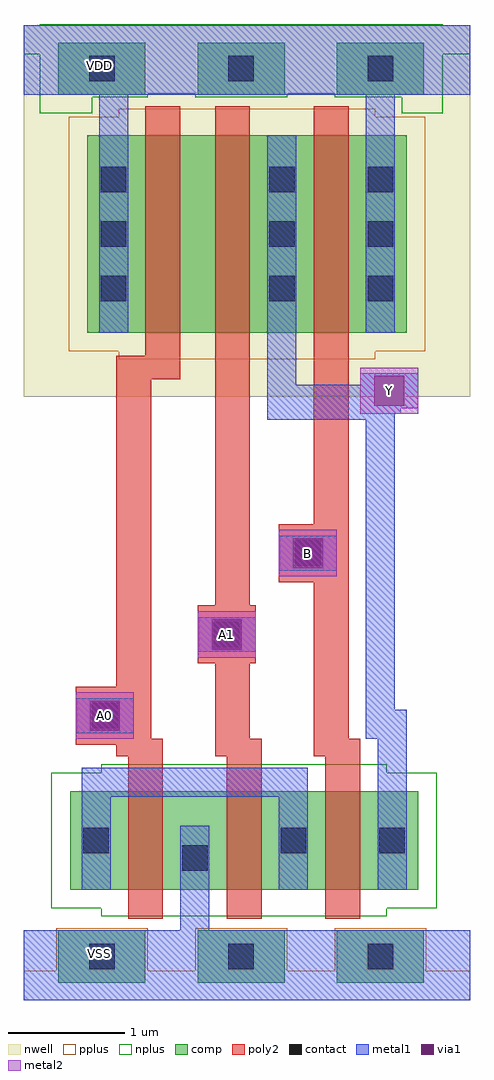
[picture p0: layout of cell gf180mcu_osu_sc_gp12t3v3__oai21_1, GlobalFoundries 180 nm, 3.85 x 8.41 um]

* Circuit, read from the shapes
.subckt gf180mcu_osu_sc_gp12t3v3__oai21_1 A0 A1 B VDD VSS Y
XM1 VSS A0 n1 VSS nfet_03v3 w=0.85u l=0.3u
XM2 n1 A1 VSS VSS nfet_03v3 w=0.85u l=0.3u
XM3 Y B n1 VSS nfet_03v3 w=0.85u l=0.3u
XM4 n2 A0 VDD VDD pfet_03v3 w=1.7u l=0.3u
XM5 Y A1 n2 VDD pfet_03v3 w=1.7u l=0.3u
XM6 VDD B Y VDD pfet_03v3 w=1.7u l=0.3u
.ends

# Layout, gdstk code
import gdstk
lib = gdstk.Library(unit=1e-6, precision=1e-09)
def R(c, l, rs):  # rectangles x0, y0, x1, y1
    for r in rs: c.add(gdstk.rectangle(r[:2], r[2:], *l))
def A(c, l, x, y, w, h, nx, ny, dx, dy):  # array of equal rectangles
    R(c, l, [(x+i*dx, y+j*dy, x+i*dx+w, y+j*dy+h) for i in range(nx) for j in range(ny)])
nwell = (21, 0)
comp = (22, 0)
poly2 = (30, 0)
pplus = (31, 0)
nplus = (32, 0)
contact = (33, 0)
metal1 = (34, 0)
via1 = (35, 0)
metal2 = (36, 0)

gf180mcu_osu_sc_gp12t3v3 = lib.new_cell('gf180mcu_osu_sc_gp12t3v3__oai21_1')
R(gf180mcu_osu_sc_gp12t3v3, nwell, [(0,5.2,3.85,8.4)])
A(gf180mcu_osu_sc_gp12t3v3, comp, 0.3, 0.15, 0.75, 0.45, 3, 2, 1.2, 7.65)
R(gf180mcu_osu_sc_gp12t3v3, comp, [(0.4,0.95,3.4,1.8), (0.55,5.75,3.3,7.45)])
A(gf180mcu_osu_sc_gp12t3v3, poly2, 0.9, 0.7, 0.3, 1.4, 3, 1, 0.85, 0)
R(gf180mcu_osu_sc_gp12t3v3, poly2, [(0.8,2.1,1.2,2.2), (1.65,2.1,2.05,2.25), (2.5,2.1,2.9,2.25), (0.45,2.2,1.2,2.25), (0.45,2.25,1.1,2.7), (1.65,2.25,1.95,2.9), (2.5,2.25,2.8,3.6), (0.8,2.7,1.1,5.35), (1.5,2.9,2,3.4), (1.65,3.4,1.95,7.7), (2.2,3.6,2.8,4.1), (2.5,4.1,2.8,7.7), (0.8,5.35,1.35,5.55), (1.05,5.55,1.35,7.7)])
A(gf180mcu_osu_sc_gp12t3v3, pplus, 0.28, 0.13, 0.79, 0.49, 3, 1, 1.2, 0)
R(gf180mcu_osu_sc_gp12t3v3, pplus, [(0,0,3.85,0.25), (0.82,5.52,3.03,5.59), (0.39,5.59,3.46,7.61), (0.82,7.61,3.03,7.68)])
R(gf180mcu_osu_sc_gp12t3v3, nplus, [(0.67,0.72,3.13,0.79), (0.24,0.79,3.56,1.96), (0.67,1.96,3.13,2.03), (0.14,7.64,0.59,7.78), (3.26,7.64,3.61,7.78), (0.14,7.78,1.07,7.81), (1.48,7.78,2.27,7.81), (2.68,7.78,3.61,7.81), (0.14,7.81,3.61,8.15), (0,8.15,3.85,8.4), (0,8.15,3.85,8.4), (0.14,8.4,3.61,8.41)])
A(gf180mcu_osu_sc_gp12t3v3, contact, 0.565, 0.265, 0.22, 0.22, 3, 2, 1.2, 7.65)
A(gf180mcu_osu_sc_gp12t3v3, contact, 0.665, 6.02, 0.22, 0.22, 1, 3, 0, 0.47)
A(gf180mcu_osu_sc_gp12t3v3, contact, 2.115, 6.02, 0.22, 0.22, 1, 3, 0, 0.47)
A(gf180mcu_osu_sc_gp12t3v3, contact, 2.965, 6.02, 0.22, 0.22, 1, 3, 0, 0.47)
R(gf180mcu_osu_sc_gp12t3v3, contact, [(1.365,1.115,1.585,1.335), (0.515,1.265,0.735,1.485), (2.215,1.265,2.435,1.485), (3.065,1.265,3.285,1.485), (0.59,2.34,0.81,2.56), (1.64,3.04,1.86,3.26), (2.34,3.74,2.56,3.96)])
R(gf180mcu_osu_sc_gp12t3v3, metal1, [(0,0,3.85,0.6), (1.35,0.6,1.6,1.5), (0.5,0.95,0.75,1.75), (2.2,0.95,2.45,1.75), (3.05,0.95,3.3,2.25), (0.5,1.75,2.45,2), (2.95,2.25,3.3,2.5), (0.45,2.3,0.95,2.6), (2.95,2.5,3.2,5), (1.5,3,2,3.3), (2.2,3.7,2.7,4), (2.1,5,3.2,5.05), (2.1,5.05,3.25,5.1), (2.1,5.1,3.4,5.3), (2.1,5.3,2.35,7.45), (2.9,5.3,3.4,5.4), (0.65,5.75,0.9,7.8), (2.95,5.75,3.2,7.8), (0,7.8,3.85,8.4)])
R(gf180mcu_osu_sc_gp12t3v3, via1, [(0.57,2.32,0.83,2.58), (1.62,3.02,1.88,3.28), (2.32,3.72,2.58,3.98), (3.02,5.12,3.28,5.38)])
R(gf180mcu_osu_sc_gp12t3v3, metal2, [(0.45,2.25,0.95,2.65), (1.5,2.95,2,3.35), (2.2,3.65,2.7,4.05), (2.9,5.05,3.4,5.45)])
gf180mcu_osu_sc_gp12t3v3.add(gdstk.Label('A0', (0.7,2.45), layer=36, texttype=10))
gf180mcu_osu_sc_gp12t3v3.add(gdstk.Label('A1', (1.75,3.15), layer=36, texttype=10))
gf180mcu_osu_sc_gp12t3v3.add(gdstk.Label('B', (2.45,3.85), layer=36, texttype=10))
gf180mcu_osu_sc_gp12t3v3.add(gdstk.Label('Y', (3.15,5.25), layer=36, texttype=10))
gf180mcu_osu_sc_gp12t3v3.add(gdstk.Label('VDD', (0.65,8.05), layer=34, texttype=10))
gf180mcu_osu_sc_gp12t3v3.add(gdstk.Label('VSS', (0.65,0.4), layer=34, texttype=10))

lib.write_gds('gf180mcu_osu_sc_gp12t3v3__oai21_1.gds')
